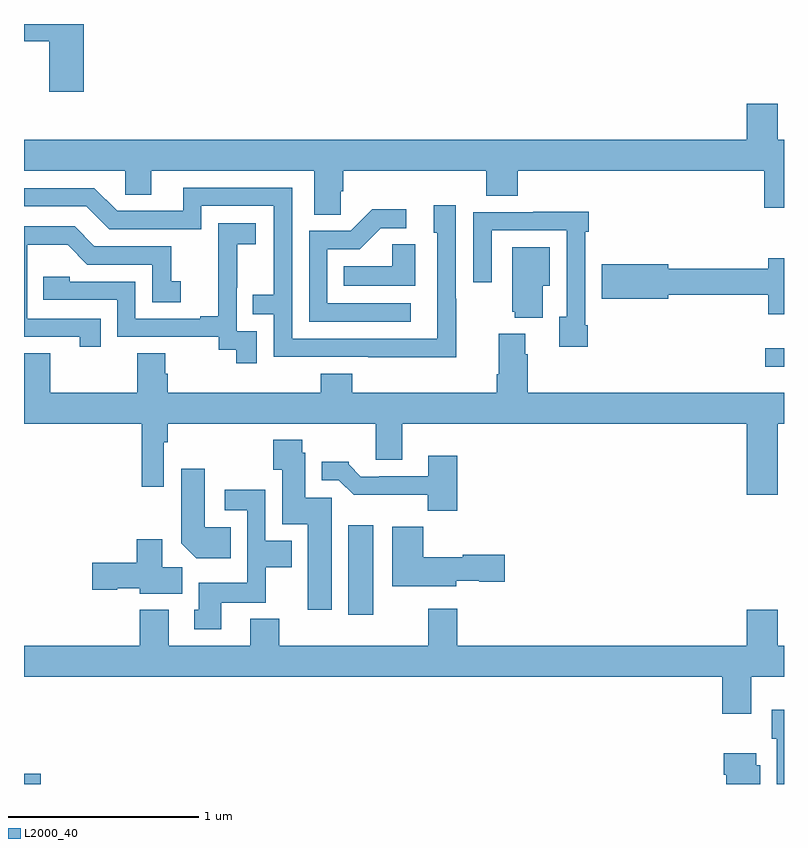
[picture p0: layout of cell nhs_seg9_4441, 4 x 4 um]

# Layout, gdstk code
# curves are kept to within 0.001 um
import gdstk
lib = gdstk.Library(unit=1e-6, precision=1e-09)
def R(c, l, rs):  # rectangles x0, y0, x1, y1
    for r in rs: c.add(gdstk.rectangle(r[:2], r[2:], *l))
def P(c, l, *ps):  # polygons
    for p in ps: c.add(gdstk.Polygon(p, *l))
L2000_40 = (2000, 40)

nhs_seg9_4441 = lib.new_cell('nhs_seg9_4441')
R(nhs_seg9_4441, L2000_40, [(365,1218.5,365.089,1218.554), (366.707,1219.392,366.838,1219.861), (368.901,1220.696,369,1220.793)])
P(nhs_seg9_4441, L2000_40, [(365.315,1222.5),(365,1222.5),(365,1222.408),(365.132,1222.408),(365.132,1222.143),(365.315,1222.143)],
  [(366.666,1221.619),(366.68,1221.619),(366.68,1221.728),(367.433,1221.728),(367.433,1221.595),(367.598,1221.595),(367.598,1221.728),(368.897,1221.728),(368.897,1221.534),(369,1221.534),(369,1221.892),(368.968,1221.892),(368.968,1222.081),(368.804,1222.081),(368.804,1221.892),(365,1221.892),(365,1221.728),(365.532,1221.728),(365.532,1221.601),(365.671,1221.601),(365.671,1221.728),(366.527,1221.728),(366.527,1221.496),(366.666,1221.496)],
  [(367.275,1221.053),(367.272,1221.053),(367.272,1221.547),(367.157,1221.547),(367.157,1221.402),(367.176,1221.402),(367.176,1220.844),(366.411,1220.844),(366.411,1221.639),(365.837,1221.639),(365.837,1221.516),(365.49,1221.516),(365.37,1221.636),(365,1221.636),(365,1221.54),(365.328,1221.54),(365.448,1221.42),(365.934,1221.42),(365.934,1221.543),(366.315,1221.543),(366.315,1221.074),(366.205,1221.074),(366.205,1220.973),(366.315,1220.973),(366.315,1220.748),(367.275,1220.747)],
  [(367.036,1221.03),(366.597,1221.03),(366.597,1221.315),(366.766,1221.315),(366.877,1221.426),(367.012,1221.426),(367.012,1221.524),(366.833,1221.524),(366.72,1221.411),(366.501,1221.411),(366.501,1220.934),(367.036,1220.934)],
  [(367.966,1220.914),(367.953,1220.914),(367.953,1221.407),(367.973,1221.407),(367.973,1221.512),(367.681,1221.512),(367.681,1221.51),(367.365,1221.51),(367.365,1221.141),(367.461,1221.141),(367.461,1221.414),(367.857,1221.414),(367.857,1220.958),(367.817,1220.958),(367.817,1220.802),(367.966,1220.802)],
  [(366.225,1220.883),(366.12,1220.883),(366.12,1221.113),(366.122,1221.113),(366.122,1221.341),(366.22,1221.341),(366.22,1221.451),(366.022,1221.451),(366.022,1221.245),(366.023,1221.245),(366.023,1220.962),(365.927,1220.962),(365.927,1220.949),(365.586,1220.949),(365.586,1221.144),(365.241,1221.144),(365.241,1221.171),(365.101,1221.171),(365.101,1221.048),(365.49,1221.048),(365.49,1220.853),(366.024,1220.853),(366.024,1220.785),(366.117,1220.785),(366.117,1220.715),(366.225,1220.715)],
  [(365.405,1220.949),(365.016,1220.949),(365.016,1221.338),(365.23,1221.338),(365.334,1221.234),(365.676,1221.234),(365.676,1221.036),(365.824,1221.036),(365.824,1221.145),(365.775,1221.145),(365.775,1221.33),(365.371,1221.33),(365.266,1221.435),(365,1221.435),(365,1220.853),(365.294,1220.853),(365.294,1220.802),(365.405,1220.802)],
  [(367.06,1221.341),(366.939,1221.341),(366.939,1221.226),(366.682,1221.226),(366.682,1221.122),(367.06,1221.122)],
  [(367.729,1221.122),(367.768,1221.122),(367.768,1221.325),(367.571,1221.325),(367.571,1220.985),(367.583,1220.985),(367.583,1220.954),(367.729,1220.954)],
  [(369,1221.268),(368.918,1221.268),(368.918,1221.212),(368.392,1221.212),(368.392,1221.236),(368.04,1221.236),(368.04,1221.053),(368.392,1221.053),(368.392,1221.076),(368.918,1221.076),(368.918,1220.972),(369,1220.972)],
  [(368.968,1220.396),(369,1220.396),(369,1220.56),(367.652,1220.56),(367.652,1220.762),(367.639,1220.762),(367.639,1220.869),(367.499,1220.869),(367.499,1220.656),(367.487,1220.656),(367.487,1220.56),(366.728,1220.56),(366.728,1220.659),(366.563,1220.659),(366.563,1220.56),(365.756,1220.56),(365.756,1220.658),(365.743,1220.658),(365.743,1220.768),(365.596,1220.768),(365.596,1220.56),(365.139,1220.56),(365.139,1220.768),(365,1220.768),(365,1220.396),(365.62,1220.396),(365.62,1220.064),(365.736,1220.064),(365.736,1220.3),(365.756,1220.3),(365.756,1220.396),(366.851,1220.396),(366.851,1220.206),(366.991,1220.206),(366.991,1220.396),(368.804,1220.396),(368.804,1220.022),(368.968,1220.022)],
  [(366.619,1220.007),(366.481,1220.007),(366.481,1220.244),(366.465,1220.244),(366.465,1220.311),(366.313,1220.311),(366.313,1220.155),(366.359,1220.155),(366.359,1219.868),(366.494,1219.868),(366.494,1219.416),(366.619,1219.416)],
  [(367.28,1220.227),(367.127,1220.227),(367.127,1220.121),(366.871,1220.121),(366.871,1220.118),(366.772,1220.118),(366.708,1220.182),(366.708,1220.197),(366.566,1220.197),(366.566,1220.1),(366.657,1220.1),(366.736,1220.022),(367.125,1220.022),(367.125,1219.937),(367.28,1219.937)],
  [(366.089,1219.852),(365.95,1219.852),(365.95,1220.158),(365.828,1220.158),(365.828,1219.766),(365.906,1219.688),(366.089,1219.688)],
  [(366.037,1219.454),(366.273,1219.454),(366.273,1219.64),(366.409,1219.64),(366.409,1219.78),(366.27,1219.78),(366.27,1220.05),(366.057,1220.05),(366.057,1219.941),(366.174,1219.941),(366.174,1219.558),(365.921,1219.558),(365.921,1219.416),(365.897,1219.416),(365.897,1219.314),(366.037,1219.314)],
  [(367.276,1219.571),(367.395,1219.571),(367.395,1219.564),(367.531,1219.564),(367.531,1219.706),(367.308,1219.706),(367.308,1219.693),(367.1,1219.693),(367.1,1219.855),(366.938,1219.855),(366.938,1219.541),(367.276,1219.541)],
  [(365.833,1219.64),(365.728,1219.64),(365.728,1219.789),(365.594,1219.789),(365.594,1219.664),(365.358,1219.664),(365.358,1219.522),(365.49,1219.522),(365.49,1219.529),(365.61,1219.529),(365.61,1219.502),(365.833,1219.502)],
  [(368.827,1219.064),(369,1219.064),(369,1219.228),(368.968,1219.228),(368.968,1219.417),(368.804,1219.417),(368.804,1219.228),(367.28,1219.228),(367.28,1219.423),(367.127,1219.423),(367.127,1219.228),(366.344,1219.228),(366.344,1219.369),(366.191,1219.369),(366.191,1219.228),(365.761,1219.228),(365.761,1219.417),(365.609,1219.417),(365.609,1219.228),(365,1219.228),(365,1219.064),(368.675,1219.064),(368.675,1218.87),(368.827,1218.87)],
  [(369,1218.892),(368.936,1218.892),(368.936,1218.738),(368.963,1218.738),(368.963,1218.5),(369,1218.5)],
  [(368.875,1218.6),(368.854,1218.6),(368.854,1218.661),(368.684,1218.661),(368.684,1218.548),(368.696,1218.548),(368.696,1218.5),(368.875,1218.5)])

lib.write_gds('nhs_seg9_4441.gds')
